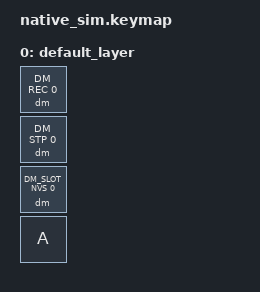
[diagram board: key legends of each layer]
/*
 * Copyright (c) 2026 The ZMK Contributors
 * SPDX-License-Identifier: MIT
 *
 * Test: Record then let assign timeout expire without saving.
 *
 * Sequence:
 * 1. Press REC to start recording
 * 2. Press A
 * 3. Press STP to stop recording
 * 4. Wait for ASSIGN_TIMEOUT (default 10s) without pressing slot
 *
 * Expected: Recording discarded, state returns to IDLE
 */

#include "../behavior_keymap.dtsi"

/ {
    keymap {
        compatible = "zmk,keymap";
        default_layer {
            bindings = <
                &dm DM_REC 0        /* 0,0 */
                &dm DM_STP 0        /* 0,1 */
                &dm DM_SLOT_NVS 0   /* 1,0 */
                &kp A               /* 1,1 */
            >;
        };
    };
};

&kscan {
    events = <
        /* Start recording */
        ZMK_MOCK_PRESS(0,0,10)
        ZMK_MOCK_RELEASE(0,0,10)

        /* Record: A */
        ZMK_MOCK_PRESS(1,1,10)
        ZMK_MOCK_RELEASE(1,1,10)

        /* Stop recording */
        ZMK_MOCK_PRESS(0,1,10)
        ZMK_MOCK_RELEASE(0,1,10)

        /* Wait for timeout (10s+) then try to play - should be empty */
        ZMK_MOCK_PRESS(1,0,15000)
        ZMK_MOCK_RELEASE(1,0,10)
    >;
};
